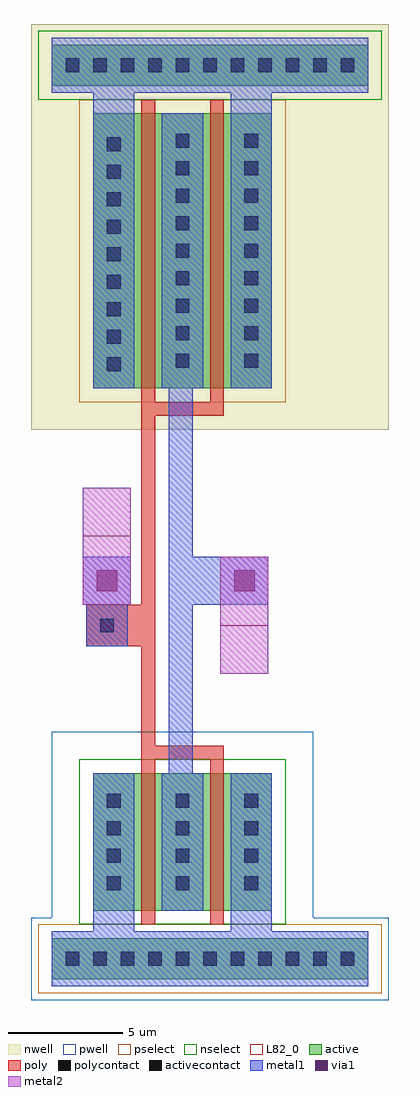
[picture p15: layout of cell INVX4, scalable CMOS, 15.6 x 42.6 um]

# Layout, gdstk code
import gdstk
lib = gdstk.Library(unit=1e-6, precision=1e-09)
def R(c, l, rs):  # rectangles x0, y0, x1, y1
    for r in rs: c.add(gdstk.rectangle(r[:2], r[2:], *l))
def A(c, l, x, y, w, h, nx, ny, dx, dy):  # array of equal rectangles
    R(c, l, [(x+i*dx, y+j*dy, x+i*dx+w, y+j*dy+h) for i in range(nx) for j in range(ny)])
pwell = (41, 0)
nwell = (42, 0)
active = (43, 0)
pselect = (44, 0)
nselect = (45, 0)
poly = (46, 0)
polycontact = (47, 0)
activecontact = (48, 0)
metal1 = (49, 0)
via1 = (50, 0)
metal2 = (51, 0)
L82_0 = (82, 0)

invx4 = lib.new_cell('INVX4')
R(invx4, pwell, [(-1.8,-1.8,13.8,1.8), (-0.9,1.8,10.5,9.9)])
R(invx4, nwell, [(-1.8,23.1,13.8,40.8)])
R(invx4, active, [(-0.9,-0.9,12.9,0.9), (0.9,2.1,8.7,8.1), (0.9,24.9,8.7,36.9), (-0.9,38.1,12.9,39.9)])
R(invx4, pselect, [(-1.5,-1.5,13.5,1.5), (0.3,24.3,9.3,37.5)])
R(invx4, nselect, [(0.3,1.5,9.3,8.7), (-1.5,37.5,13.5,40.5)])
R(invx4, poly, [(3,1.5,3.6,8.7), (6,1.5,6.6,8.7), (3,8.7,6.6,9.3), (3,9.3,3.6,13.65), (0.6,13.65,3.6,15.45), (3,15.45,3.6,23.7), (3,23.7,6.6,24.3), (3,24.3,3.6,37.5), (6,24.3,6.6,37.5)])
R(invx4, polycontact, [(1.2,14.25,1.8,14.85)])
A(invx4, activecontact, -0.3, -0.3, 0.6, 0.6, 11, 2, 1.2, 39)
A(invx4, activecontact, 1.5, 3, 0.6, 0.6, 3, 4, 3, 1.2)
A(invx4, activecontact, 1.5, 25.65, 0.6, 0.6, 1, 9, 0, 1.2)
A(invx4, activecontact, 4.5, 25.8, 0.6, 0.6, 1, 9, 0, 1.2)
A(invx4, activecontact, 7.5, 25.8, 0.6, 0.6, 1, 9, 0, 1.2)
R(invx4, metal1, [(-0.9,-1.2,12.9,1.2), (0.9,1.2,2.7,8.1), (6.9,1.2,8.7,8.1), (3.9,2.1,5.7,8.1), (4.2,8.1,5.25,15.45), (0.6,13.65,2.4,15.45), (0.45,15.45,2.55,17.55), (4.2,15.45,8.55,17.55), (4.2,17.55,5.25,24.9), (0.9,24.9,2.7,37.8), (3.9,24.9,5.7,36.9), (6.9,24.9,8.7,37.8), (-0.9,37.8,12.9,40.2)])
R(invx4, via1, [(1.05,16.05,1.95,16.95), (7.05,16.05,7.95,16.95)])
R(invx4, metal2, [(6.45,12.45,8.55,17.55), (0.45,15.45,2.55,20.55)])
R(invx4, L82_0, [(6.45,12.45,8.55,14.55), (0.45,18.45,2.55,20.55)])

lib.write_gds('INVX4.gds')
